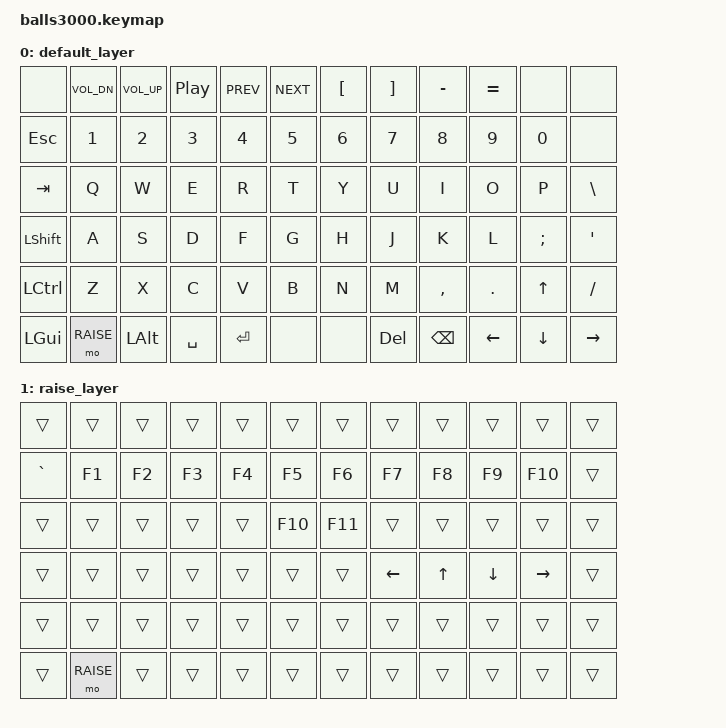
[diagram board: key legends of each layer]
#include <behaviors.dtsi>
#include <dt-bindings/zmk/keys.h>

#define DEAFULT 0
#define RAISE 1

/ {
    keymap {
        compatible = "zmk,keymap";

        default_layer {
            bindings = <

    &none      &kp C_VOL_DN &kp C_VOL_UP &kp C_PP  &kp C_PREV  &kp C_NEXT &kp LBKT  &kp RBKT  &kp MINUS &kp EQUAL  &none &none   
    &kp ESC    &kp N1   &kp N2   &kp N3    &kp N4    &kp N5    &kp N6    &kp N7    &kp N8    &kp N9    &kp N0   &none                 
    &kp TAB    &kp Q    &kp W    &kp E     &kp R     &kp T     &kp Y     &kp U     &kp I     &kp O     &kp P    &kp BSLH
    &kp LSHIFT &kp A    &kp S    &kp D     &kp F     &kp G     &kp H     &kp J     &kp K     &kp L     &kp SEMI &kp SQT
    &kp LCTRL  &kp Z    &kp X    &kp C     &kp V     &kp B     &kp N     &kp M     &kp COMMA &kp DOT   &kp UP   &kp FSLH
    &kp LGUI   &mo RAISE &kp LALT &kp SPC  &kp RET   &none     &none     &kp DEL   &kp BSPC  &kp LEFT  &kp DOWN &kp RIGHT
               
            >;
        };

        raise_layer {
            bindings = <
    &trans      &trans      &trans      &trans      &trans      &trans      &trans      &trans      &trans      &trans      &trans      &trans      
    &kp GRAVE   &kp F1      &kp F2      &kp F3      &kp F4      &kp F5      &kp F6      &kp F7      &kp F8      &kp F9      &kp F10     &trans  
    &trans      &trans      &trans      &trans      &trans      &kp F10     &kp F11     &trans      &trans      &trans      &trans      &trans
    &trans      &trans      &trans      &trans      &trans      &trans      &trans      &kp LEFT    &kp UP      &kp DOWN    &kp RIGHT   &trans
    &trans      &trans      &trans      &trans      &trans      &trans      &trans      &trans      &trans      &trans      &trans      &trans
    &trans      &mo RAISE   &trans      &trans      &trans      &trans      &trans      &trans      &trans      &trans      &trans      &trans
               
            >;
        };
    };
};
